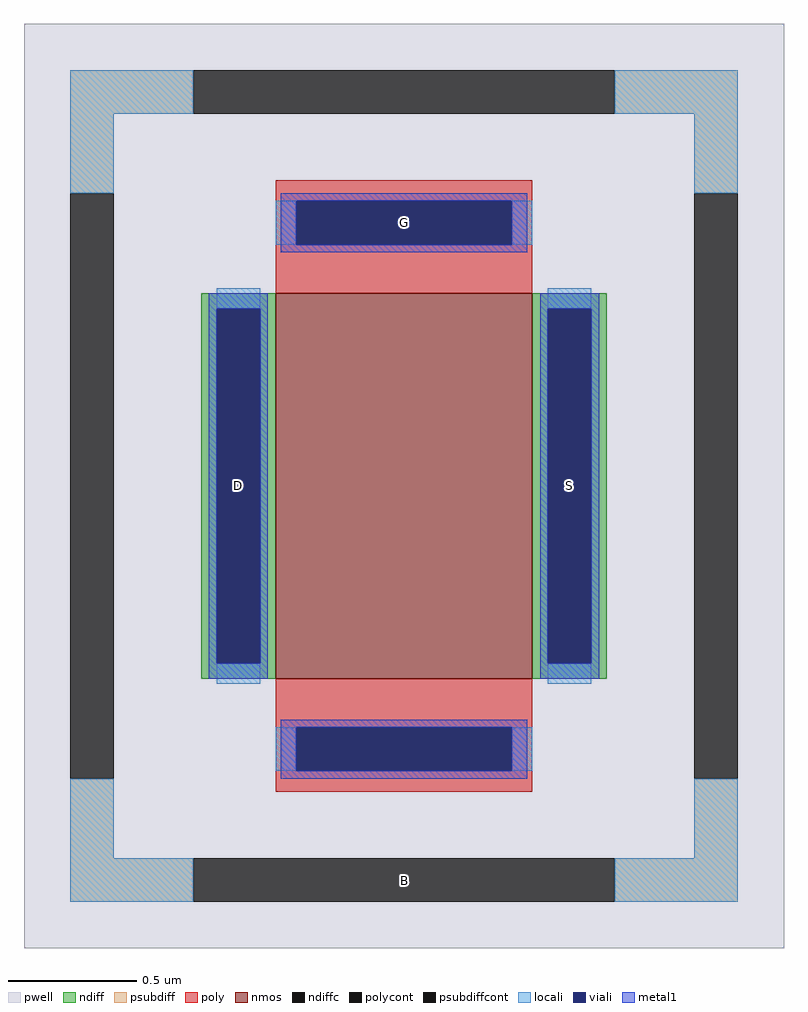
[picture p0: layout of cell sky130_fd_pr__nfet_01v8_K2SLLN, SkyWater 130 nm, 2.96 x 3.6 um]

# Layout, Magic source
magic
tech sky130A
magscale 1 2
<< pwell >>
rect -296 -360 296 360
<< nmos >>
rect -100 -150 100 150
<< ndiff >>
rect -158 138 -100 150
rect -158 -138 -146 138
rect -112 -138 -100 138
rect -158 -150 -100 -138
rect 100 138 158 150
rect 100 -138 112 138
rect 146 -138 158 138
rect 100 -150 158 -138
<< ndiffc >>
rect -146 -138 -112 138
rect 112 -138 146 138
<< psubdiff >>
rect -260 290 -164 324
rect 164 290 260 324
rect -260 228 -226 290
rect 226 228 260 290
rect -260 -290 -226 -228
rect 226 -290 260 -228
rect -260 -324 -164 -290
rect 164 -324 260 -290
<< psubdiffcont >>
rect -164 290 164 324
rect -260 -228 -226 228
rect 226 -228 260 228
rect -164 -324 164 -290
<< poly >>
rect -100 222 100 238
rect -100 188 -84 222
rect 84 188 100 222
rect -100 150 100 188
rect -100 -188 100 -150
rect -100 -222 -84 -188
rect 84 -222 100 -188
rect -100 -238 100 -222
<< polycont >>
rect -84 188 84 222
rect -84 -222 84 -188
<< locali >>
rect -260 290 -164 324
rect 164 290 260 324
rect -260 228 -226 290
rect 226 228 260 290
rect -100 188 -84 222
rect 84 188 100 222
rect -146 138 -112 154
rect -146 -154 -112 -138
rect 112 138 146 154
rect 112 -154 146 -138
rect -100 -222 -84 -188
rect 84 -222 100 -188
rect -260 -290 -226 -228
rect 226 -290 260 -228
rect -260 -324 -164 -290
rect 164 -324 260 -290
<< viali >>
rect -84 188 84 222
rect -146 -138 -112 138
rect 112 -138 146 138
rect -84 -222 84 -188
<< metal1 >>
rect -96 222 96 228
rect -96 188 -84 222
rect 84 188 96 222
rect -96 182 96 188
rect -152 138 -106 150
rect -152 -138 -146 138
rect -112 -138 -106 138
rect -152 -150 -106 -138
rect 106 138 152 150
rect 106 -138 112 138
rect 146 -138 152 138
rect 106 -150 152 -138
rect -96 -188 96 -182
rect -96 -222 -84 -188
rect 84 -222 96 -188
rect -96 -228 96 -222
<< labels >>
rlabel psubdiffcont 0 -307 0 -307 0 B
port 13 nsew
rlabel ndiffc -129 0 -129 0 0 D
port 14 nsew
rlabel ndiffc 129 0 129 0 0 S
port 15 nsew
rlabel polycont 0 205 0 205 0 G
port 16 nsew
<< properties >>
string FIXED_BBOX -243 -307 243 307
string gencell sky130_fd_pr__nfet_01v8
string library sky130
string parameters w 1.5 l 1.0 m 1 nf 1 diffcov 100 polycov 100 guard 1 glc 1 grc 1 gtc 1 gbc 1 tbcov 100 rlcov 100 topc 1 botc 1 poverlap 0 doverlap 1 lmin 0.15 wmin 0.42 class mosfet compatible {sky130_fd_pr__nfet_01v8 sky130_fd_pr__nfet_01v8_lvt  sky130_fd_bs_flash__special_sonosfet_star  sky130_fd_pr__nfet_g5v0d10v5 sky130_fd_pr__nfet_05v0_nvt  sky130_fd_pr__nfet_03v3_nvt} full_metal 1 conn_gates 0 viasrc 100 viadrn 100 viagate 100 viagb 0 viagr 0 viagl 0 viagt 0 doports 1
<< end >>
